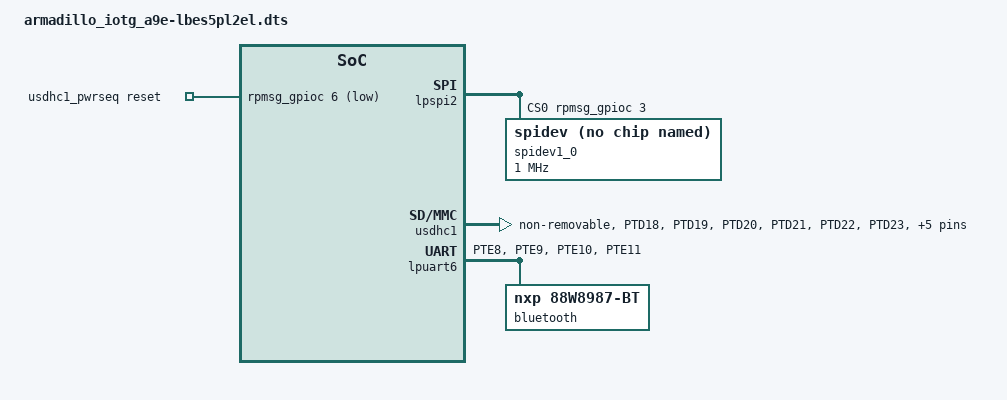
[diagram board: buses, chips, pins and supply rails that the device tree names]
// SPDX-License-Identifier: (GPL-2.0 OR MIT)
/*
 * Copyright (C) 2025 Atmark Techno, Inc. All Rights Reserved.
 */

/dts-v1/;
/plugin/;

#include <dt-bindings/gpio/gpio.h>

#include "imx8ulp-pinfunc.h"
#include "imx8ulp-pinfunc-m33.h"


&{/} {
	usdhc1_pwrseq: usdhc1_pwrseq {
		compatible = "mmc-pwrseq-simple";
		reset-gpios = <&rpmsg_gpioc 6 GPIO_ACTIVE_LOW>;
	};

	moal-params {
		// disable wifi direct, untested
		drv_mode = <0x3>;
	};

	lpspi2: lpspi2 {
		compatible = "fsl,spi-rpmsg";
		spi_type = <SPI_TYPE_LPSPI>;
		spi_index = <LPSPI2>;
		// handled in generic code
		num-chipselects = <1>;
		cs-gpios = <&rpmsg_gpioc 3 0>;
		#address-cells = <1>;
		#size-cells = <0>;
		spidev1_0: spi@0 {
			reg = <0>;
			compatible = "rohm,dh2228fv";
			spi-max-frequency = <1000000>;
		};
	};
};

// wlan LBES5PL2EL-923
&usdhc1 {
	pinctrl-names = "default", "state_100mhz", "state_200mhz";
	pinctrl-0 = <&pinctrl_usdhc1>;
	pinctrl-1 = <&pinctrl_usdhc1_100mhz>;
	pinctrl-2 = <&pinctrl_usdhc1_200mhz>;
	keep-power-in-suspend;
	non-removable;
	mmc-pwrseq = <&usdhc1_pwrseq>;
	fsl,sdio-interrupt-enable;
	status = "okay";
	/* reset gpios
	 * - wlan PTD13
	 * - th PTC4
	 * - bt PTF16
	 * wake_in gpios
	 * - wlan PTD17
	 * - bt/th PTF2
	 */
};

&lpuart6 {
	pinctrl-names = "default";
	pinctrl-0 = <&pinctrl_lpuart6>;
	status = "okay";
	bluetooth {
		compatible = "nxp,88w8987-bt";
		btnxpuart,required-netdev = "mlan0";
	};
};

&iomuxc1 {
	pinctrl_usdhc1: usdhc1grp {
		fsl,pins = <
			MX8ULP_PAD_PTD18__SDHC1_D3	0x0
			MX8ULP_PAD_PTD19__SDHC1_D2	0x0
			MX8ULP_PAD_PTD20__SDHC1_D1	0x0
			MX8ULP_PAD_PTD21__SDHC1_D0	0x0
			MX8ULP_PAD_PTD22__SDHC1_CLK	0x10002
			MX8ULP_PAD_PTD23__SDHC1_CMD	0x0
			MX8ULP_PAD_PTD13__SDHC1_RESET_B	0x0 // IND_RST_WL
			MX8ULP_PAD_PTF3__PTF3		0x0 // SPI_INT
			MX8ULP_PAD_PTF16__PTF16		0x0 // IND_RST_BT
			MX8ULP_PAD_PTD17__PTD17		0x0 // WL_WAKE_IN
			MX8ULP_PAD_PTF2__PTF2		0x0 // BT15.4_WAKE_IN
		>;
	};
	pinctrl_usdhc1_100mhz: usdhc1grp-100mhz {
		fsl,pins = <
			MX8ULP_PAD_PTD18__SDHC1_D3	0x0
			MX8ULP_PAD_PTD19__SDHC1_D2	0x0
			MX8ULP_PAD_PTD20__SDHC1_D1	0x0
			MX8ULP_PAD_PTD21__SDHC1_D0	0x0
			MX8ULP_PAD_PTD22__SDHC1_CLK	0x10002
			MX8ULP_PAD_PTD23__SDHC1_CMD	0x0
			MX8ULP_PAD_PTD13__SDHC1_RESET_B	0x0 // IND_RST_WL
			MX8ULP_PAD_PTF3__PTF3		0x0 // SPI_INT
			MX8ULP_PAD_PTF16__PTF16		0x0 // IND_RST_BT
			MX8ULP_PAD_PTD17__PTD17		0x0 // WL_WAKE_IN
			MX8ULP_PAD_PTF2__PTF2		0x0 // BT15.4_WAKE_IN
		>;
	};
	pinctrl_usdhc1_200mhz: usdhc1grp-200mhz {
		fsl,pins = <
			MX8ULP_PAD_PTD18__SDHC1_D3	0x0
			MX8ULP_PAD_PTD19__SDHC1_D2	0x0
			MX8ULP_PAD_PTD20__SDHC1_D1	0x0
			MX8ULP_PAD_PTD21__SDHC1_D0	0x0
			MX8ULP_PAD_PTD22__SDHC1_CLK	0x10002
			MX8ULP_PAD_PTD23__SDHC1_CMD	0x0
			MX8ULP_PAD_PTD13__SDHC1_RESET_B	0x0 // IND_RST_WL
			MX8ULP_PAD_PTF3__PTF3		0x0 // SPI_INT
			MX8ULP_PAD_PTF16__PTF16		0x0 // IND_RST_BT
			MX8ULP_PAD_PTD17__PTD17		0x0 // WL_WAKE_IN
			MX8ULP_PAD_PTF2__PTF2		0x0 // BT15.4_WAKE_IN
		>;
	};
	pinctrl_lpuart6: lpuart6grp {
		fsl,pins = <
			MX8ULP_PAD_PTE8__LPUART6_CTS_B	0x3
			MX8ULP_PAD_PTE9__LPUART6_RTS_B	0x3
			MX8ULP_PAD_PTE10__LPUART6_TX	0x3
			MX8ULP_PAD_PTE11__LPUART6_RX	0x3
		>;
	};
};

&gpioc_iomuxc {
	spi {
		imx-rpmsg,pins = <
			IOMUXC_PTC0_LPSPI2_SIN	IOMUXC_PCR_PE_MASK
			IOMUXC_PTC1_LPSPI2_SOUT	IOMUXC_PCR_OBE_MASK
			IOMUXC_PTC2_LPSPI2_SCK	IOMUXC_PCR_OBE_MASK
			IOMUXC_PTC3_PTC3	IOMUXC_PCR_OBE_MASK
		>;
	};
};

